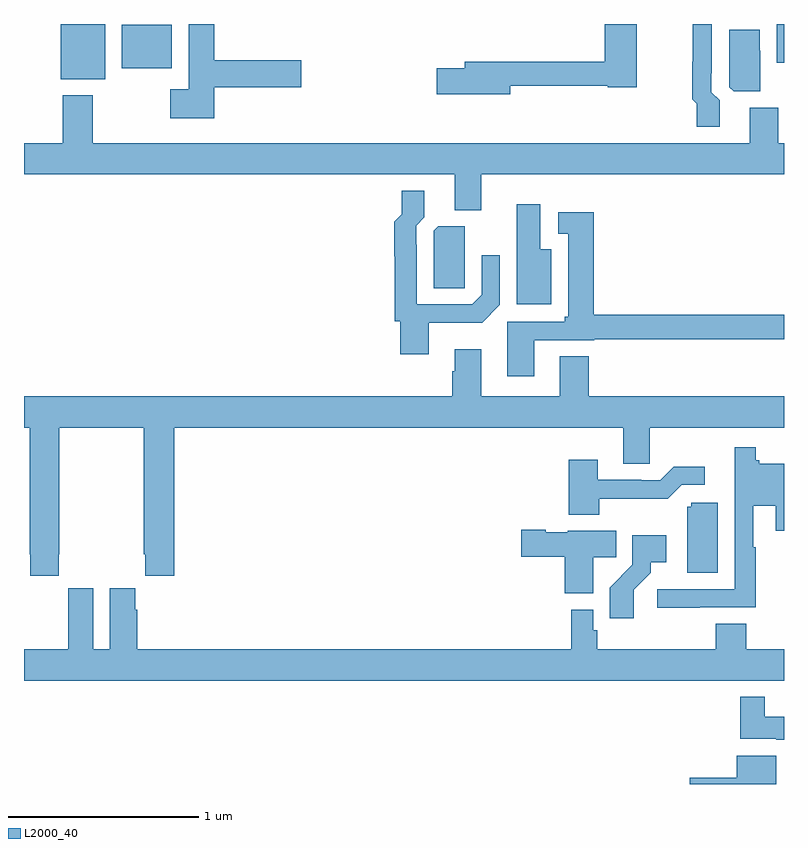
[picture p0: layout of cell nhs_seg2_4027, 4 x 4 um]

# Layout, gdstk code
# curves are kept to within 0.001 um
import gdstk
lib = gdstk.Library(unit=1e-6, precision=1e-09)
def R(c, l, rs):  # rectangles x0, y0, x1, y1
    for r in rs: c.add(gdstk.rectangle(r[:2], r[2:], *l))
def P(c, l, *ps):  # polygons
    for p in ps: c.add(gdstk.Polygon(p, *l))
L2000_40 = (2000, 40)

nhs_seg2_4027 = lib.new_cell('nhs_seg2_4027')
R(nhs_seg2_4027, L2000_40, [(327.194,609.509,327.427,609.8), (327.515,609.566,327.778,609.796), (330.963,609.597,331,609.8)])
P(nhs_seg2_4027, L2000_40, [(328.001,609.466),(328.459,609.466),(328.459,609.608),(328.001,609.608),(328.001,609.8),(327.866,609.8),(327.866,609.457),(327.771,609.457),(327.771,609.305),(328.001,609.305)],
  [(330.661,609.398),(330.618,609.441),(330.618,609.541),(330.621,609.541),(330.621,609.8),(330.52,609.8),(330.52,609.602),(330.518,609.602),(330.518,609.405),(330.541,609.381),(330.541,609.258),(330.661,609.258)],
  [(329.56,609.474),(330.072,609.474),(330.072,609.466),(330.226,609.466),(330.226,609.8),(330.056,609.8),(330.056,609.602),(329.321,609.602),(329.321,609.566),(329.172,609.566),(329.172,609.431),(329.56,609.431)],
  [(330.874,609.659),(330.873,609.659),(330.873,609.77),(330.711,609.77),(330.711,609.468),(330.735,609.445),(330.874,609.445)],
  [(329.407,609.008),(331,609.008),(331,609.172),(330.969,609.172),(330.969,609.36),(330.821,609.36),(330.821,609.172),(327.363,609.172),(327.363,609.424),(327.203,609.424),(327.203,609.172),(327,609.172),(327,609.008),(329.267,609.008),(329.267,608.821),(329.407,608.821)],
  [(329.131,608.228),(329.411,608.228),(329.505,608.322),(329.505,608.584),(329.409,608.584),(329.409,608.376),(329.358,608.325),(329.067,608.325),(329.067,608.639),(329.064,608.639),(329.064,608.739),(329.107,608.782),(329.107,608.923),(328.987,608.923),(328.987,608.799),(328.949,608.76),(328.949,608.578),(328.951,608.578),(328.951,608.235),(328.979,608.235),(328.979,608.061),(329.131,608.061)],
  [(329.776,608.614),(329.716,608.614),(329.716,608.851),(329.594,608.851),(329.594,608.324),(329.776,608.324)],
  [(329.686,608.136),(330,608.136),(330,608.142),(331,608.142),(331,608.27),(329.999,608.27),(329.999,608.809),(329.811,608.809),(329.811,608.696),(329.864,608.696),(329.864,608.259),(329.846,608.259),(329.846,608.232),(329.543,608.232),(329.543,607.947),(329.686,607.947)],
  [(329.319,608.521),(329.32,608.521),(329.32,608.736),(329.181,608.736),(329.157,608.712),(329.157,608.41),(329.319,608.41)],
  [(327.183,607.009),(327.186,607.009),(327.186,607.676),(327.631,607.676),(327.631,607.009),(327.637,607.009),(327.637,606.897),(327.791,606.897),(327.791,607.676),(330.155,607.676),(330.155,607.486),(330.294,607.486),(330.294,607.676),(331,607.676),(331,607.84),(329.972,607.84),(329.972,608.051),(329.819,608.051),(329.819,607.84),(329.407,607.84),(329.407,608.089),(329.267,608.089),(329.267,607.973),(329.255,607.973),(329.255,607.84),(327,607.84),(327,607.676),(327.031,607.676),(327.031,607.009),(327.033,607.009),(327.033,606.897),(327.183,606.897)],
  [(330.557,606.729),(330.85,606.729),(330.85,607.046),(330.837,607.046),(330.837,607.265),(330.956,607.265),(330.956,607.134),(331,607.134),(331,607.486),(330.87,607.486),(330.87,607.504),(330.85,607.504),(330.85,607.573),(330.741,607.573),(330.741,606.825),(330.333,606.825),(330.333,606.727),(330.557,606.727)],
  [(330.027,607.302),(330.389,607.301),(330.462,607.374),(330.583,607.374),(330.583,607.471),(330.421,607.471),(330.348,607.398),(330.248,607.398),(330.248,607.401),(330.019,607.401),(330.019,607.507),(329.867,607.507),(329.867,607.217),(330.027,607.217)],
  [(330.652,607.281),(330.513,607.281),(330.513,607.26),(330.491,607.26),(330.491,606.912),(330.652,606.912)],
  [(329.995,606.994),(330.116,606.994),(330.116,607.132),(329.862,607.132),(329.862,607.126),(329.745,607.126),(329.745,607.139),(329.616,607.139),(329.616,606.997),(329.846,606.997),(329.846,606.803),(329.995,606.803)],
  [(330.208,606.823),(330.298,606.913),(330.298,606.968),(330.379,606.968),(330.379,607.108),(330.201,607.108),(330.201,606.953),(330.082,606.834),(330.082,606.672),(330.208,606.672)],
  [(331,606.508),(330.801,606.508),(330.801,606.644),(330.641,606.644),(330.641,606.508),(330.017,606.508),(330.017,606.609),(329.997,606.609),(329.997,606.718),(329.881,606.718),(329.881,606.508),(327.596,606.508),(327.596,606.716),(327.586,606.716),(327.586,606.829),(327.452,606.829),(327.452,606.508),(327.364,606.508),(327.364,606.829),(327.234,606.829),(327.234,606.716),(327.233,606.716),(327.233,606.508),(327,606.508),(327,606.344),(331,606.344)],
  [(331,606.154),(330.898,606.154),(330.898,606.259),(330.769,606.259),(330.769,606.038),(330.96,606.038),(330.96,606.032),(331,606.032)],
  [(330.958,605.948),(330.752,605.948),(330.752,605.834),(330.504,605.834),(330.504,605.8),(330.958,605.8)])

lib.write_gds('nhs_seg2_4027.gds')
